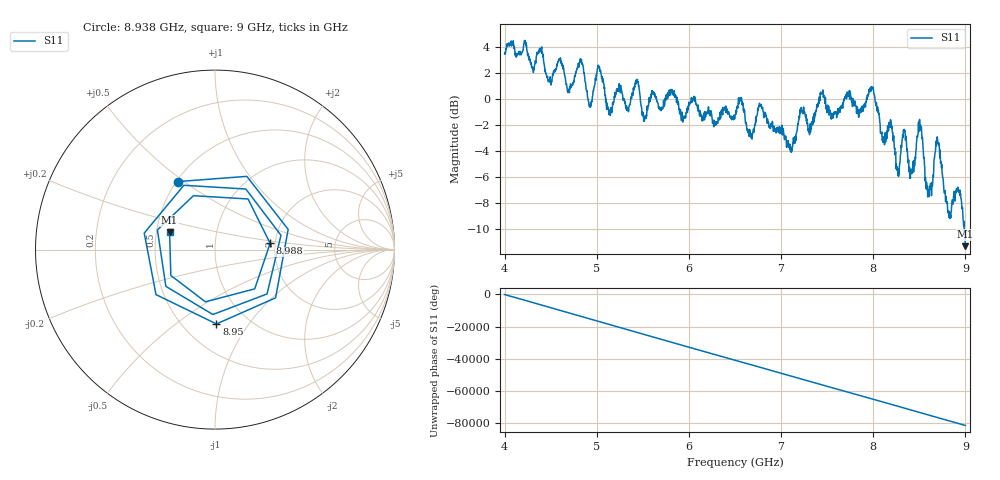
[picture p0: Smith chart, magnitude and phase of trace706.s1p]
! Created with skrf 1.8.0 (http://scikit-rf.org).
# Hz S RI R 50.0
!freq ReS11 ImS11
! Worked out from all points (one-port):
!   1601 points, 4 GHz to 9 GHz, reference 50 ohm
!   lowest |S11| = -11.4 dB at 9 GHz (marker M1), VSWR 1.74, Z = 29.3 + j6.05 ohm
!   |S11| at or under -10 dB: 8.986941 GHz to end of sweep
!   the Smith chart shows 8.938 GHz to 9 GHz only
!   S11 on the Smith chart (normalised r, x): 8.938 GHz: 0.51, +0.47; 8.95 GHz: 0.72, -0.72; 8.988 GHz: 1.88, +0.15; 9 GHz: 0.59, +0.12
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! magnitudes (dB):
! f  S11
! 4 GHz  3.4
! 4.625 GHz  2.6
! 4.7 GHz  0.7
! 4.838 GHz  2.7
! 4.925 GHz  -0.5
! 5.019 GHz  2.4
! 5.131 GHz  -1.2
! 5.25 GHz  0.9
! 5.438 GHz  1.4
! 5.516 GHz  -1.7
! 5.875 GHz  -0.3
! 6.5 GHz  -1.3
! 7.125 GHz  -3.7
! 7.441 GHz  0.4
! 7.75 GHz  0.6
! 7.988 GHz  0.8
! 8.262 GHz  -5.4
! 8.334 GHz  -2.4
! 8.375 GHz  -4.6
! 8.422 GHz  -5.6
! 8.509 GHz  -2.4
! 8.594 GHz  -7.0
! 8.694 GHz  -2.9
! 8.819 GHz  -8.7
! 8.938 GHz  -7.3
! 8.95 GHz  -7.7
! 8.988 GHz  -10.2
! 9 GHz  -11.4
